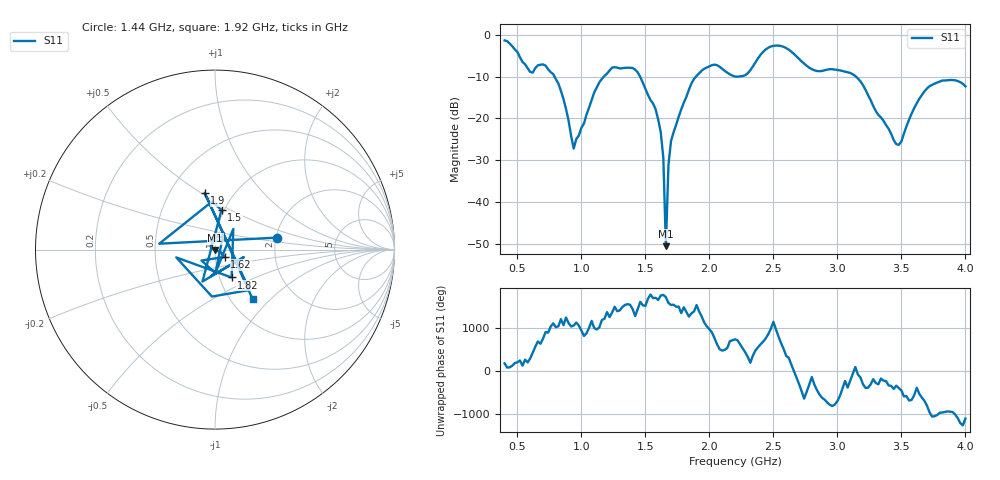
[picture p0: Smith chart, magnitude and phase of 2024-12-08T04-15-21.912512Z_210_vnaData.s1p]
!Created with skrf (http://scikit-rf.org).
# Hz S RI R 50.0
!freq ReS11 ImS11
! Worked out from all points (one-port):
!   181 points, 400 MHz to 4 GHz, reference 50 ohm
!   lowest |S11| = -50.5 dB at 1.66 GHz (marker M1), VSWR 1.01, Z = 50.1 - j0.289 ohm
!   |S11| at or under -10 dB: 789.8 MHz to 1.176 GHz (386.5 MHz wide, 39.3 % of centre); 1.458 GHz to 1.896 GHz (437.9 MHz wide, 26.1 % of centre); 3.144 GHz to end of sweep (the widest 3 of 4)
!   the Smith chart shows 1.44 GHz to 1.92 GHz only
!   S11 on the Smith chart (normalised r, x): 1.44 GHz: 2.03, +0.31; 1.5 GHz: 0.97, +0.45; 1.62 GHz: 1.11, -0.09; 1.82 GHz: 1.14, -0.37; 1.9 GHz: 0.74, +0.52; 1.92 GHz: 1.26, -0.79
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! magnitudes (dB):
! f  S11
! 400 MHz  -1.4
! 600 MHz  -8.9
! 720 MHz  -7.4
! 860 MHz  -15.4
! 940 MHz  -27.2
! 1.14 GHz  -11.4
! 1.3 GHz  -8.1
! 1.44 GHz  -9.0
! 1.5 GHz  -13.0
! 1.62 GHz  -23.3
! 1.64 GHz  -29.4
! 1.66 GHz  -50.5
! 1.68 GHz  -31.2
! 1.7 GHz  -25.4
! 1.76 GHz  -19.6
! 1.82 GHz  -14.9
! 1.9 GHz  -9.9
! 1.92 GHz  -9.2
! 2.04 GHz  -7.2
! 2.2 GHz  -10.0
! 2.48 GHz  -2.8
! 2.66 GHz  -4.6
! 2.82 GHz  -8.5
! 3.1 GHz  -9.1
! 3.46 GHz  -26.1
! 3.56 GHz  -20.3
! 3.72 GHz  -12.3
! 4 GHz  -12.3
